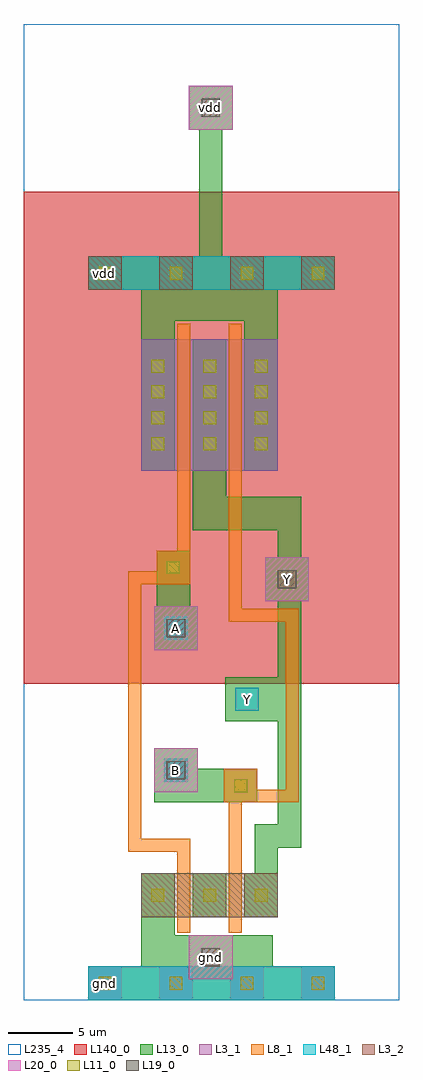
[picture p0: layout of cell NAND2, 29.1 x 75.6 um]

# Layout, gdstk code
import gdstk
lib = gdstk.Library(unit=1e-6, precision=1e-09)
def R(c, l, rs):  # rectangles x0, y0, x1, y1
    for r in rs: c.add(gdstk.rectangle(r[:2], r[2:], *l))
def A(c, l, x, y, w, h, nx, ny, dx, dy):  # array of equal rectangles
    R(c, l, [(x+i*dx, y+j*dy, x+i*dx+w, y+j*dy+h) for i in range(nx) for j in range(ny)])
def P(c, l, *ps):  # polygons
    for p in ps: c.add(gdstk.Polygon(p, *l))
L3_1 = (3, 1)
L3_2 = (3, 2)
L8_1 = (8, 1)
L11_0 = (11, 0)
L13_0 = (13, 0)
L19_0 = (19, 0)
L20_0 = (20, 0)
L48_1 = (48, 1)
L140_0 = (140, 0)
L235_4 = (235, 4)

nand2 = lib.new_cell('NAND2')
A(nand2, L3_1, 5, 0, 2.6, 2.6, 4, 1, 5.5, 0)
R(nand2, L3_1, [(9.1,41,19.7,51.2)])
A(nand2, L3_2, 5, 55, 2.6, 2.6, 4, 1, 5.5, 0)
R(nand2, L3_2, [(9.1,6.4,19.7,9.8)])
P(nand2, L8_1, [(11.9,5.2),(11.9,11.5),(8.1,11.5),(8.1,33.2),(10.3,33.2),(10.3,34.8),(11.9,34.8),(11.9,52.4),(12.9,52.4),(12.9,32.2),(9.1,32.2),(9.1,12.5),(12.9,12.5),(12.9,5.2)],
  [(15.9,5.2),(15.9,15.3),(15.5,15.3),(15.5,17.9),(18.1,17.9),(18.1,16.3),(20.3,16.3),(20.3,29.3),(15.9,29.3),(15.9,52.4),(16.9,52.4),(16.9,30.3),(21.3,30.3),(21.3,15.3),(16.9,15.3),(16.9,5.2)])
A(nand2, L11_0, 5.8, 0.8, 1, 1, 4, 2, 5.5, 55)
A(nand2, L11_0, 17.9, 42.6, 1, 1, 1, 4, 0, 2)
R(nand2, L11_0, [(9.9,7.6,10.9,8.6), (13.9,7.6,14.9,8.6), (13.9,7.6,14.9,8.6), (17.9,7.6,18.9,8.6), (16.3,16.1,17.3,17.1), (11.1,33,12.1,34), (9.9,42.6,10.9,43.6), (9.9,42.6,10.9,43.6), (9.9,42.6,10.9,43.6), (13.9,42.6,14.9,43.6), (13.9,42.6,14.9,43.6), (13.9,42.6,14.9,43.6), (13.9,42.6,14.9,43.6), (9.9,44.6,10.9,45.6), (9.9,44.6,10.9,45.6), (9.9,44.6,10.9,45.6), (13.9,44.6,14.9,45.6), (13.9,44.6,14.9,45.6), (13.9,44.6,14.9,45.6), (13.9,44.6,14.9,45.6), (9.9,46.6,10.9,47.6), (9.9,46.6,10.9,47.6), (9.9,46.6,10.9,47.6), (13.9,46.6,14.9,47.6), (13.9,46.6,14.9,47.6), (13.9,46.6,14.9,47.6), (13.9,46.6,14.9,47.6), (9.9,48.6,10.9,49.6), (9.9,48.6,10.9,49.6), (9.9,48.6,10.9,49.6), (13.9,48.6,14.9,49.6), (13.9,48.6,14.9,49.6), (13.9,48.6,14.9,49.6), (13.9,48.6,14.9,49.6)])
R(nand2, L13_0, [(13.1,6.4,15.7,9.8)])
P(nand2, L13_0, [(5,0),(5,2.6),(9.1,2.6),(9.1,9.8),(11.7,9.8),(11.7,5),(19.3,5),(19.3,2.6),(24.1,2.6),(24.1,0)],
  [(10.1,15.3),(10.1,19.5),(13.5,19.5),(13.5,17.9),(18.1,17.9),(18.1,15.3)],
  [(10.1,27.1),(10.1,30.5),(10.3,30.5),(10.3,34.8),(12.9,34.8),(12.9,30.5),(13.5,30.5),(13.5,27.1)],
  [(17.1,6.4),(17.1,9.8),(17.9,9.8),(17.9,13.6),(19.7,13.6),(19.7,21.6),(15.6,21.6),(15.6,25),(19.7,25),(19.7,30.9),(18.7,30.9),(18.7,34.3),(19.7,34.3),(19.7,36.4),(13.1,36.4),(13.1,51.2),(15.7,51.2),(15.7,39),(21.5,39),(21.5,34.3),(22.1,34.3),(22.1,30.9),(21.5,30.9),(21.5,11.8),(19.7,11.8),(19.7,6.4)],
  [(9.1,41),(9.1,55),(5,55),(5,57.6),(13.6,57.6),(13.6,67.4),(12.8,67.4),(12.8,70.8),(16.2,70.8),(16.2,67.4),(15.4,67.4),(15.4,57.6),(24.1,57.6),(24.1,55),(19.7,55),(19.7,41),(17.1,41),(17.1,52.6),(11.7,52.6),(11.7,41)])
R(nand2, L19_0, [(13.8,2.6,15.2,4), (11.1,17.1,12.5,18.5), (11.1,28.1,12.5,29.5), (19.7,31.9,21.1,33.3), (13.8,68.4,15.2,69.8)])
R(nand2, L20_0, [(12.8,1.6,16.2,5), (10.1,16.1,13.5,19.5), (10.1,27.1,13.5,30.5), (18.7,30.9,22.1,34.3), (12.8,67.4,16.2,70.8)])
R(nand2, L48_1, [(5,0,24.1,2.6), (10.9,16.9,12.7,18.7), (16.4,22.4,18.2,24.2), (10.9,27.9,12.7,29.7), (5,55,24.1,57.6)])
R(nand2, L140_0, [(0,24.5,29.1,62.6)])
R(nand2, L235_4, [(0,0,29.1,75.6)])
nand2.add(gdstk.Label('vdd', (6.3,56.3), layer=48, texttype=0))
nand2.add(gdstk.Label('Y', (17.3,23.3), layer=48, texttype=0))
nand2.add(gdstk.Label('B', (11.8,17.8), layer=48, texttype=0))
nand2.add(gdstk.Label('A', (11.8,28.8), layer=48, texttype=0))
nand2.add(gdstk.Label('gnd', (6.3,1.3), layer=48, texttype=0))
nand2.add(gdstk.Label('A', (11.8,28.8), layer=49, texttype=0))
nand2.add(gdstk.Label('B', (11.8,17.8), layer=49, texttype=0))
nand2.add(gdstk.Label('Y', (20.4,32.6), layer=49, texttype=0))
nand2.add(gdstk.Label('vdd', (14.5,69.1), layer=49, texttype=0))
nand2.add(gdstk.Label('gnd', (14.5,3.3), layer=49, texttype=0))

lib.write_gds('NAND2.gds')
